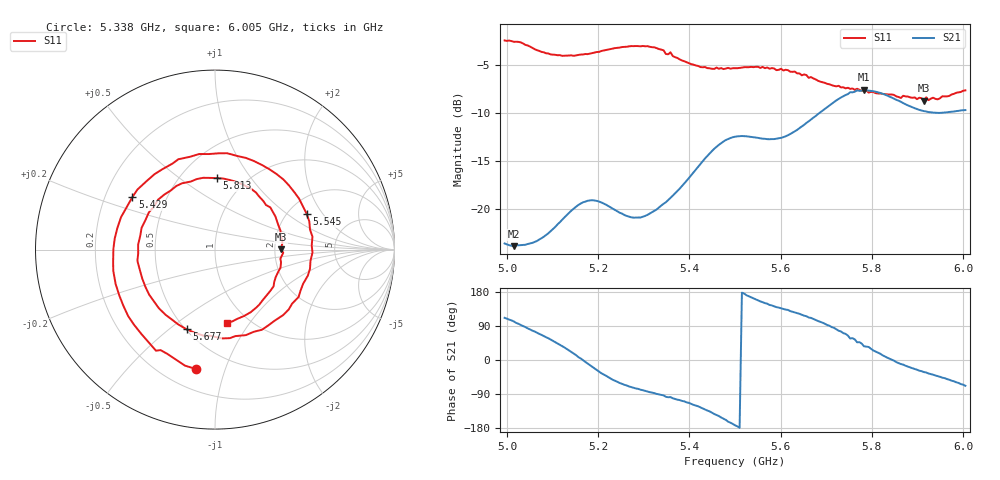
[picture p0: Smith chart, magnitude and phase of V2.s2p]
!File created by NanoVNA
# Hz S RI R 50
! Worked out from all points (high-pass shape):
!   201 points, 4.995 GHz to 6.005 GHz, reference 50 ohm
!   highest |S21| = -7.60 dB at 5.783 GHz (marker M1); lowest = -23.9 dB at 5.015 GHz (marker M2)
!   |S21| within 3 dB of the highest: 5.669 GHz to end of sweep
!   lowest |S11| = -8.7 dB at 5.914 GHz (marker M3), VSWR 2.15, Z = 108 + j0.578 ohm
!   |S11| at or under -10 dB: nowhere
!   S12 and S22 are empty: the file has one direction only
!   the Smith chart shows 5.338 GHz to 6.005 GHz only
!   S11 on the Smith chart (normalised r, x): 5.338 GHz: 0.33, -0.80; 5.429 GHz: 0.32, +0.26; 5.545 GHz: 2.51, +1.43; 5.677 GHz: 0.51, -0.58; 5.813 GHz: 0.74, +0.70; 6.005 GHz: 0.80, -0.78
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4.995e9  0.232 -0.7148  -0.024 0.0617  0 0  0 0
5.0152e9  -0.0793 -0.7351  -0.0131 0.0627  0 0  0 0
5.08085e9  -0.65 -0.0554  0.0324 0.0639  0 0  0 0
5.1263e9  -0.3833 0.4946  0.0758 0.0494  0 0  0 0
5.1667e9  0.0954 0.6277  0.1082 -0.000926  0 0  0 0
5.25255e9  0.69 -0.08  0.043 -0.0842  0 0  0 0
5.2879e9  0.5205 -0.4717  0.0215 -0.0876  0 0  0 0
5.33335e9  -0.0412 -0.6763  -0.00123 -0.1018  0 0  0 0
5.3384e9  -0.1072 -0.6649  -0.00394 -0.1041  0 0  0 0
5.3889e9  -0.5536 -0.1915  -0.0445 -0.128  0 0  0 0
5.4293e9  -0.4607 0.2918  -0.1082 -0.1404  0 0  0 0
5.5e9  0.2164 0.4936  -0.2353 -0.0318  0 0  0 0
5.54545e9  0.5108 0.1988  -0.2209 0.0805  0 0  0 0
5.601e9  0.4657 -0.2641  -0.17 0.1612  0 0  0 0
5.6717e9  -0.1116 -0.4638  -0.0938 0.283  0 0  0 0
5.67675e9  -0.1585 -0.4441  -0.083 0.2925  0 0  0 0
5.72725e9  -0.4323 -0.0625  0.0828 0.3642  0 0  0 0
5.7828e9  -0.2152 0.3544  0.3371 0.2452  0 0  0 0
5.8131e9  0.00889 0.3982  0.3809 0.1346  0 0  0 0
5.83835e9  0.1711 0.3544  0.3831 0.0238  0 0  0 0
5.9141e9  0.3659 0.00233  0.2739 -0.1703  0 0  0 0
6.005e9  0.0649 -0.4084  0.1219 -0.3029  0 0  0 0
